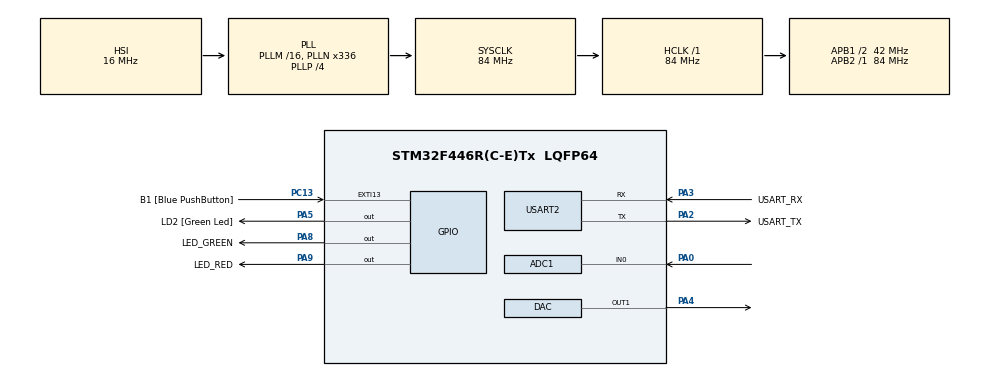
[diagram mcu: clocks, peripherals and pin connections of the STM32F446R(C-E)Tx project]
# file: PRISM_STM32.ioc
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ADC1.Channel-0\#ChannelRegularConversion=ADC_CHANNEL_0
ADC1.ExternalTrigConv=ADC_EXTERNALTRIGCONV_T3_TRGO
ADC1.NbrOfConversionFlag=1
ADC1.Rank-0\#ChannelRegularConversion=1
ADC1.SamplingTime-0\#ChannelRegularConversion=ADC_SAMPLETIME_3CYCLES
ADC1.master=1
DAC.DAC_Trigger=DAC_TRIGGER_T6_TRGO
Dma.ADC1.1.Direction=DMA_PERIPH_TO_MEMORY
Dma.ADC1.1.FIFOMode=DMA_FIFOMODE_DISABLE
Dma.ADC1.1.Instance=DMA2_Stream0
Dma.ADC1.1.MemDataAlignment=DMA_MDATAALIGN_WORD
Dma.ADC1.1.MemInc=DMA_MINC_ENABLE
Dma.ADC1.1.Mode=DMA_CIRCULAR
Dma.ADC1.1.PeriphDataAlignment=DMA_PDATAALIGN_WORD
Dma.ADC1.1.PeriphInc=DMA_PINC_DISABLE
Dma.ADC1.1.Priority=DMA_PRIORITY_LOW
Dma.DAC1.0.Direction=DMA_MEMORY_TO_PERIPH
Dma.DAC1.0.FIFOMode=DMA_FIFOMODE_DISABLE
Dma.DAC1.0.Instance=DMA1_Stream5
Dma.DAC1.0.MemDataAlignment=DMA_MDATAALIGN_HALFWORD
Dma.DAC1.0.MemInc=DMA_MINC_ENABLE
Dma.DAC1.0.Mode=DMA_CIRCULAR
Dma.DAC1.0.PeriphDataAlignment=DMA_PDATAALIGN_HALFWORD
Dma.DAC1.0.PeriphInc=DMA_PINC_DISABLE
Dma.DAC1.0.Priority=DMA_PRIORITY_LOW
Dma.Request0=DAC1
Dma.Request1=ADC1
Mcu.Family=STM32F4
Mcu.Name=STM32F446R(C-E)Tx
Mcu.Package=LQFP64
NVIC.DMA1_Stream5_IRQn=true\:0\:0\:false\:false\:true\:false\:true\:true
NVIC.DMA2_Stream0_IRQn=true\:0\:0\:false\:false\:true\:false\:true\:true
NVIC.PriorityGroup=NVIC_PRIORITYGROUP_0
PA0-WKUP.Signal=ADCx_IN0
PA13.GPIO_Label=TMS
PA13.Mode=Serial_Wire
PA13.Signal=SYS_JTMS-SWDIO
PA14.GPIO_Label=TCK
PA14.Mode=Serial_Wire
PA14.Signal=SYS_JTCK-SWCLK
PA2.GPIO_Label=USART_TX
PA2.Mode=Asynchronous
PA2.Signal=USART2_TX
PA3.GPIO_Label=USART_RX
PA3.Mode=Asynchronous
PA3.Signal=USART2_RX
PA4.Signal=COMP_DAC1_group
PA5.GPIO_Label=LD2 [Green Led]
PA5.Signal=GPIO_Output
PA8.GPIO_Label=LED_GREEN
PA8.Signal=GPIO_Output
PA9.GPIO_Label=LED_RED
PA9.Signal=GPIO_Output
PB3.GPIO_Label=SWO
PB3.Signal=SYS_JTDO-SWO
PC13.GPIO_Label=B1 [Blue PushButton]
PC13.GPIO_ModeDefaultEXTI=GPIO_MODE_IT_FALLING
PC13.Signal=GPXTI13
PC14-OSC32_IN.Mode=LSE-External-Oscillator
PC14-OSC32_IN.Signal=RCC_OSC32_IN
PC15-OSC32_OUT.Mode=LSE-External-Oscillator
PC15-OSC32_OUT.Signal=RCC_OSC32_OUT
PH0-OSC_IN.Mode=HSE-External-Oscillator
PH0-OSC_IN.Signal=RCC_OSC_IN
PH1-OSC_OUT.Mode=HSE-External-Oscillator
PH1-OSC_OUT.Signal=RCC_OSC_OUT
ProjectManager.HeapSize=0x200
ProjectManager.StackSize=0x400
ProjectManager.TargetToolchain=STM32CubeIDE
RCC.48MHZClocksFreq_Value=84000000
RCC.AHBFreq_Value=84000000
RCC.APB1CLKDivider=RCC_HCLK_DIV2
RCC.APB1Freq_Value=42000000
RCC.APB1TimFreq_Value=84000000
RCC.APB2Freq_Value=84000000
RCC.APB2TimFreq_Value=84000000
RCC.CortexFreq_Value=84000000
RCC.FLatency-AdvancedSettings=FLASH_LATENCY_2
RCC.HCLKFreq_Value=84000000
RCC.HSE_VALUE=8000000
RCC.HSI_VALUE=16000000
RCC.PLLN=336
RCC.PLLP=RCC_PLLP_DIV4
RCC.SYSCLKFreq_VALUE=84000000
RCC.SYSCLKSource=RCC_SYSCLKSOURCE_PLLCLK
RCC.USBFreq_Value=168000000
RCC.VCOOutputFreq_Value=336000000
SH.ADCx_IN0.0=ADC1_IN0,IN0
SH.COMP_DAC1_group.0=DAC_OUT1,DAC_OUT1
TIM3.TIM_MasterOutputTrigger=TIM_TRGO_UPDATE
TIM6.TIM_MasterOutputTrigger=TIM_TRGO_UPDATE
USART2.VirtualMode=VM_ASYNC
VP_TIM3_VS_ClockSourceINT.Mode=Internal
VP_TIM6_VS_ClockSourceINT.Mode=Enable_Timer
board=NUCLEO-F446RE

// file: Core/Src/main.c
/* USER CODE BEGIN Header */
/**
  ******************************************************************************
  * @file           : main.c
  * @brief          : Main program body
  ******************************************************************************
  * @attention
  *
  * Copyright (c) 2026 STMicroelectronics.
  * All rights reserved.
  *
  * This software is licensed under terms that can be found in the LICENSE file
  * in the root directory of this software component.
  * If no LICENSE file comes with this software, it is provided AS-IS.
  *
  ******************************************************************************
  */
/* USER CODE END Header */
#include "main.h"

/* USER CODE BEGIN Includes */
#include "main.h"
#include "adc_utils.h"
#include "signal_analysis.h"
#include "fault_classifier.h"
#include <string.h>
#include <stdio.h>
#include <math.h>
#include <stdlib.h>
/* USER CODE END Includes */

ADC_HandleTypeDef hadc1;
DMA_HandleTypeDef hdma_adc1;

DAC_HandleTypeDef hdac;
DMA_HandleTypeDef hdma_dac1;

TIM_HandleTypeDef htim3;
TIM_HandleTypeDef htim6;

UART_HandleTypeDef huart2;

/* USER CODE BEGIN PV */
#define CHIRP_SAMPLES 1000
#define DAC_MAX 4095
uint16_t chirp_buf[CHIRP_SAMPLES];
uint32_t adc_buf[CHIRP_SAMPLES];
float float_buf[CHIRP_SAMPLES];
static uint8_t baseline_set = 0;
volatile uint8_t adc_capture_done = 0;
/* USER CODE END PV */

void SystemClock_Config(void);
static void MX_GPIO_Init(void);
static void MX_DMA_Init(void);
static void MX_USART2_UART_Init(void);
static void MX_ADC1_Init(void);
static void MX_DAC_Init(void);
static void MX_TIM6_Init(void);
static void MX_TIM3_Init(void);

/* USER CODE BEGIN 0 */
void generate_chirp(void) {
	float f0 = 1000.0f;     // Start frequency of chirp: 1kHz
	float f1 = 50000.0f;    // End frequency of chirp: 50kHz
	float T = 0.001f;       // Chirp duration: 1ms (sweep from f0 to f1 in 1ms)
	float fs = 1000000.0f;  // Sample rate: 1MHz (1 million samples per second)

    for (int i = 0; i < CHIRP_SAMPLES; i++) {
        float t = i / fs;
        float phase = 2.0f * 3.14159f * (f0 + (f1 - f0) * t / (2.0f * T)) * t;
        float sample = (sinf(phase) + 1.0f) / 2.0f;
        chirp_buf[i] = (uint16_t)(sample * DAC_MAX);
    }
}
/* USER CODE END 0 */

int main(void)
{

  /* MCU Configuration--------------------------------------------------------*/

  /* Reset of all peripherals, Initializes the Flash interface and the Systick. */
  HAL_Init();

  /* Configure the system clock */
  SystemClock_Config();

  /* Initialize all configured peripherals */
  MX_GPIO_Init();
  MX_DMA_Init();
  MX_USART2_UART_Init();
  MX_ADC1_Init();
  MX_DAC_Init();
  MX_TIM6_Init();
  MX_TIM3_Init();
  /* USER CODE BEGIN 2 */
  // Test LEDs on startup
  // Toggle green
  HAL_GPIO_TogglePin(LED_GREEN_GPIO_Port, LED_GREEN_Pin);
  HAL_Delay(1000);

  // Toggle red (note correct port)
  HAL_GPIO_TogglePin(LED_RED_GPIO_Port, LED_RED_Pin);
  HAL_Delay(1000);

  // Now start the system
  __HAL_TIM_SET_AUTORELOAD(&htim6, 167);
  __HAL_TIM_SET_AUTORELOAD(&htim3, 167);
  generate_chirp();
  HAL_TIM_Base_Start(&htim6);
  HAL_DAC_Start_DMA(&hdac, DAC_CHANNEL_1, (uint32_t*)chirp_buf, CHIRP_SAMPLES, DAC_ALIGN_12B_R);
  HAL_ADC_Start_DMA(&hadc1, adc_buf, CHIRP_SAMPLES);
  HAL_TIM_Base_Start(&htim3);
  /* USER CODE END 2 */

  /* Infinite loop */
  /* USER CODE BEGIN WHILE */
  while (1)
  {
    if (adc_capture_done) {
        adc_capture_done = 0;

        // Convert the contents of adc_buf into a float buffer
        adc_buf_to_float(adc_buf, float_buf, CHIRP_SAMPLES);

        if (!baseline_set) {
            signal_set_baseline(float_buf, CHIRP_SAMPLES);
            baseline_set = 1;
        } else {
            // Calculate rmse
            float rmse = signal_compute_rmse(float_buf, CHIRP_SAMPLES);

            // Classify fault state
            FaultState_t fault_state = classifier_evaluate(rmse);

            // Control LEDs based on fault state
            if (fault_state == STATE_HEALTHY) {
                HAL_GPIO_WritePin(LED_GREEN_GPIO_Port, LED_GREEN_Pin, GPIO_PIN_SET);   // Green ON
                HAL_GPIO_WritePin(LED_RED_GPIO_Port, LED_RED_Pin, GPIO_PIN_RESET);     // Red OFF
            } else {
                HAL_GPIO_WritePin(LED_GREEN_GPIO_Port, LED_GREEN_Pin, GPIO_PIN_RESET); // Green OFF
                HAL_GPIO_WritePin(LED_RED_GPIO_Port, LED_RED_Pin, GPIO_PIN_SET);       // Red ON
            }

            // Determine status string
            const char* status;
            if (fault_state == STATE_HEALTHY) {
                status = "HEALTHY";
            } else if (fault_state == STATE_WARNING) {
                status = "WARNING";
            } else if (fault_state == STATE_FAULT_SOFT) {
                status = "SOFT FAULT";
            } else {
                status = "HARD FAULT";
            }

            // Log rmse and status
            char msg[128];
            sprintf(msg, "RMSE: %.6f | Status: %s\r\n", rmse, status);
            HAL_UART_Transmit(&huart2, (uint8_t*)msg, strlen(msg), 100);
        }
    }
    HAL_Delay(10);
    /* USER CODE END WHILE */

  }
}

void SystemClock_Config(void)
{
  RCC_OscInitTypeDef RCC_OscInitStruct = {0};
  RCC_ClkInitTypeDef RCC_ClkInitStruct = {0};

  /** Configure the main internal regulator output voltage
  */
  __HAL_RCC_PWR_CLK_ENABLE();
  __HAL_PWR_VOLTAGESCALING_CONFIG(PWR_REGULATOR_VOLTAGE_SCALE3);

  /** Initializes the RCC Oscillators according to the specified parameters
  * in the RCC_OscInitTypeDef structure.
  */
  RCC_OscInitStruct.OscillatorType = RCC_OSCILLATORTYPE_HSI;
  RCC_OscInitStruct.HSIState = RCC_HSI_ON;
  RCC_OscInitStruct.HSICalibrationValue = RCC_HSICALIBRATION_DEFAULT;
  RCC_OscInitStruct.PLL.PLLState = RCC_PLL_ON;
  RCC_OscInitStruct.PLL.PLLSource = RCC_PLLSOURCE_HSI;
  RCC_OscInitStruct.PLL.PLLM = 16;
  RCC_OscInitStruct.PLL.PLLN = 336;
  RCC_OscInitStruct.PLL.PLLP = RCC_PLLP_DIV4;
  RCC_OscInitStruct.PLL.PLLQ = 2;
  RCC_OscInitStruct.PLL.PLLR = 2;
  if (HAL_RCC_OscConfig(&RCC_OscInitStruct) != HAL_OK)
  {
    Error_Handler();
  }

  /** Initializes the CPU, AHB and APB buses clocks
  */
  RCC_ClkInitStruct.ClockType = RCC_CLOCKTYPE_HCLK|RCC_CLOCKTYPE_SYSCLK
                              |RCC_CLOCKTYPE_PCLK1|RCC_CLOCKTYPE_PCLK2;
  RCC_ClkInitStruct.SYSCLKSource = RCC_SYSCLKSOURCE_PLLCLK;
  RCC_ClkInitStruct.AHBCLKDivider = RCC_SYSCLK_DIV1;
  RCC_ClkInitStruct.APB1CLKDivider = RCC_HCLK_DIV2;
  RCC_ClkInitStruct.APB2CLKDivider = RCC_HCLK_DIV1;

  if (HAL_RCC_ClockConfig(&RCC_ClkInitStruct, FLASH_LATENCY_2) != HAL_OK)
  {
    Error_Handler();
  }
}

static void MX_ADC1_Init(void)
{

  ADC_ChannelConfTypeDef sConfig = {0};

  /** Configure the global features of the ADC (Clock, Resolution, Data Alignment and number of conversion)
  */
  hadc1.Instance = ADC1;
  hadc1.Init.ClockPrescaler = ADC_CLOCK_SYNC_PCLK_DIV4;
  hadc1.Init.Resolution = ADC_RESOLUTION_12B;
  hadc1.Init.ScanConvMode = DISABLE;
  hadc1.Init.ContinuousConvMode = DISABLE;
  hadc1.Init.DiscontinuousConvMode = DISABLE;
  hadc1.Init.ExternalTrigConvEdge = ADC_EXTERNALTRIGCONVEDGE_RISING;
  hadc1.Init.ExternalTrigConv = ADC_EXTERNALTRIGCONV_T3_TRGO;
  hadc1.Init.DataAlign = ADC_DATAALIGN_RIGHT;
  hadc1.Init.NbrOfConversion = 1;
  hadc1.Init.DMAContinuousRequests = DISABLE;
  hadc1.Init.EOCSelection = ADC_EOC_SINGLE_CONV;
  if (HAL_ADC_Init(&hadc1) != HAL_OK)
  {
    Error_Handler();
  }

  /** Configure for the selected ADC regular channel its corresponding rank in the sequencer and its sample time.
  */
  sConfig.Channel = ADC_CHANNEL_0;
  sConfig.Rank = 1;
  sConfig.SamplingTime = ADC_SAMPLETIME_3CYCLES;
  if (HAL_ADC_ConfigChannel(&hadc1, &sConfig) != HAL_OK)
  {
    Error_Handler();
  }
  /* USER CODE BEGIN ADC1_Init 2 */
  hadc1.Init.DMAContinuousRequests = ENABLE;
  HAL_ADC_Init(&hadc1);
  /* USER CODE END ADC1_Init 2 */

}

static void MX_DAC_Init(void)
{

  DAC_ChannelConfTypeDef sConfig = {0};

  /** DAC Initialization
  */
  hdac.Instance = DAC;
  if (HAL_DAC_Init(&hdac) != HAL_OK)
  {
    Error_Handler();
  }

  /** DAC channel OUT1 config
  */
  sConfig.DAC_Trigger = DAC_TRIGGER_T6_TRGO;
  sConfig.DAC_OutputBuffer = DAC_OUTPUTBUFFER_ENABLE;
  if (HAL_DAC_ConfigChannel(&hdac, &sConfig, DAC_CHANNEL_1) != HAL_OK)
  {
    Error_Handler();
  }

}

static void MX_TIM3_Init(void)
{

  TIM_ClockConfigTypeDef sClockSourceConfig = {0};
  TIM_MasterConfigTypeDef sMasterConfig = {0};

  htim3.Instance = TIM3;
  htim3.Init.Prescaler = 0;
  htim3.Init.CounterMode = TIM_COUNTERMODE_UP;
  htim3.Init.Period = 65535;
  htim3.Init.ClockDivision = TIM_CLOCKDIVISION_DIV1;
  htim3.Init.AutoReloadPreload = TIM_AUTORELOAD_PRELOAD_DISABLE;
  if (HAL_TIM_Base_Init(&htim3) != HAL_OK)
  {
    Error_Handler();
  }
  sClockSourceConfig.ClockSource = TIM_CLOCKSOURCE_INTERNAL;
  if (HAL_TIM_ConfigClockSource(&htim3, &sClockSourceConfig) != HAL_OK)
  {
    Error_Handler();
  }
  sMasterConfig.MasterOutputTrigger = TIM_TRGO_UPDATE;
  sMasterConfig.MasterSlaveMode = TIM_MASTERSLAVEMODE_DISABLE;
  if (HAL_TIMEx_MasterConfigSynchronization(&htim3, &sMasterConfig) != HAL_OK)
  {
    Error_Handler();
  }

}

static void MX_TIM6_Init(void)
{

  TIM_MasterConfigTypeDef sMasterConfig = {0};

  htim6.Instance = TIM6;
  htim6.Init.Prescaler = 0;
  htim6.Init.CounterMode = TIM_COUNTERMODE_UP;
  htim6.Init.Period = 65535;
  htim6.Init.AutoReloadPreload = TIM_AUTORELOAD_PRELOAD_DISABLE;
  if (HAL_TIM_Base_Init(&htim6) != HAL_OK)
  {
    Error_Handler();
  }
  sMasterConfig.MasterOutputTrigger = TIM_TRGO_UPDATE;
  sMasterConfig.MasterSlaveMode = TIM_MASTERSLAVEMODE_DISABLE;
  if (HAL_TIMEx_MasterConfigSynchronization(&htim6, &sMasterConfig) != HAL_OK)
  {
    Error_Handler();
  }

}

static void MX_USART2_UART_Init(void)
{

  huart2.Instance = USART2;
  huart2.Init.BaudRate = 115200;
  huart2.Init.WordLength = UART_WORDLENGTH_8B;
  huart2.Init.StopBits = UART_STOPBITS_1;
  huart2.Init.Parity = UART_PARITY_NONE;
  huart2.Init.Mode = UART_MODE_TX_RX;
  huart2.Init.HwFlowCtl = UART_HWCONTROL_NONE;
  huart2.Init.OverSampling = UART_OVERSAMPLING_16;
  if (HAL_UART_Init(&huart2) != HAL_OK)
  {
    Error_Handler();
  }

}

static void MX_DMA_Init(void)
{

  /* DMA controller clock enable */
  __HAL_RCC_DMA1_CLK_ENABLE();
  __HAL_RCC_DMA2_CLK_ENABLE();

  /* DMA interrupt init */
  /* DMA1_Stream5_IRQn interrupt configuration */
  HAL_NVIC_SetPriority(DMA1_Stream5_IRQn, 0, 0);
  HAL_NVIC_EnableIRQ(DMA1_Stream5_IRQn);
  /* DMA2_Stream0_IRQn interrupt configuration */
  HAL_NVIC_SetPriority(DMA2_Stream0_IRQn, 0, 0);
  HAL_NVIC_EnableIRQ(DMA2_Stream0_IRQn);

}

static void MX_GPIO_Init(void)
{
  GPIO_InitTypeDef GPIO_InitStruct = {0};

  /* GPIO Ports Clock Enable */
  __HAL_RCC_GPIOC_CLK_ENABLE();
  __HAL_RCC_GPIOH_CLK_ENABLE();
  __HAL_RCC_GPIOA_CLK_ENABLE();
  __HAL_RCC_GPIOB_CLK_ENABLE();

  /*Configure GPIO pin Output Level */
  HAL_GPIO_WritePin(GPIOA, LD2_Pin|LED_GREEN_Pin|LED_RED_Pin, GPIO_PIN_RESET);

  /*Configure GPIO pin : B1_Pin */
  GPIO_InitStruct.Pin = B1_Pin;
  GPIO_InitStruct.Mode = GPIO_MODE_IT_FALLING;
  GPIO_InitStruct.Pull = GPIO_NOPULL;
  HAL_GPIO_Init(B1_GPIO_Port, &GPIO_InitStruct);

  /*Configure GPIO pins : LD2_Pin LED_GREEN_Pin LED_RED_Pin */
  GPIO_InitStruct.Pin = LD2_Pin|LED_GREEN_Pin|LED_RED_Pin;
  GPIO_InitStruct.Mode = GPIO_MODE_OUTPUT_PP;
  GPIO_InitStruct.Pull = GPIO_NOPULL;
  GPIO_InitStruct.Speed = GPIO_SPEED_FREQ_LOW;
  HAL_GPIO_Init(GPIOA, &GPIO_InitStruct);

}

/* USER CODE BEGIN 4 */
void HAL_ADC_ConvCpltCallback(ADC_HandleTypeDef* hadc) {
    adc_capture_done = 1;
}
/* USER CODE END 4 */

void Error_Handler(void)
{
  __disable_irq();
  while (1)
  {
  }
}
